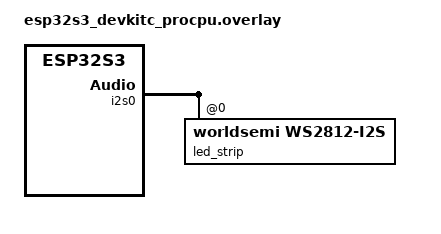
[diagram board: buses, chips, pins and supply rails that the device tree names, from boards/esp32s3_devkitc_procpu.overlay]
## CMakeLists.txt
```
# SPDX-License-Identifier: Apache-2.0

rust_cargo_application(CRATE_NAME firmware FEATURES zephyr)

target_sources(app PRIVATE
  src/boot.c
  src/console/prompt.c
  src/console/fs_aliases.c
  src/services/http/provisioning.c
  src/services/sdcard.c
  src/services/http/filesystem.c
  src/services/mqtt.c
  src/services/mcumgr.c
  src/services/prometheus.c
  src/services/diagnostics.c
  src/services/http/api.c
  src/sensors/devices.c
  src/sensors/soil_moisture.c
  src/sensors/soil_moisture_three_in_one.c
)

target_include_directories(app PRIVATE include)

zephyr_linker_sources(SECTIONS
  linker/discard_defmt.ld
  linker/http-resources.ld
)

zephyr_linker_section(NAME http_resource_desc_provisioning_service
                      KVMA RAM_REGION GROUP RODATA_REGION)
```

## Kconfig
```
source "$(ZEPHYR_BASE)/Kconfig"
rsource "Kconfig.microvisor"
```

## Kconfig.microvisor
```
config MQTT_DEFAULT_HOST
	string "Default MQTT broker host"
	default ""

config MQTT_DEFAULT_USERNAME
	string "Default MQTT username"
	default ""

config MQTT_DEFAULT_PASSWORD
	string "Default MQTT password"
	default ""

menu "Microvisor Test Suites"
	depends on ZTEST

config TEST_LED
	bool "LED strip tests"
	default y

config TEST_PROMPT
	bool "Console prompt tests"
	default y

endmenu
```

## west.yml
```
manifest:
    self:
        path: firmware

    remotes:
        - name: zephyrproject
          url-base: https://github.com/zephyrproject-rtos
        - name: wolfssl
          url-base: https://github.com/wolfSSL

    projects:
        - name: zephyr-lang-rust
          remote: zephyrproject
          revision: 5c486f17eef5d4b1fed5076cd2be167c5f2cd706 # base for firmware/patches/zephyr-lang-rust-*.patch
          path: firmware/modules/lang/rust

        - name: wolfssl
          remote: wolfssl
          revision: v5.9.1-stable
          path: firmware/modules/crypto/wolfssl

        - name: wolfssh
          remote: wolfssl
          revision: v1.5.0-stable
          path: firmware/modules/lib/wolfssh

        - name: zephyr
          remote: zephyrproject
          revision: f1ff557f96f74a6d82d8b290bc4488ee5f93c483 # main~2: before HAL CS timing regression
          import:
              path-prefix: firmware
              name-allowlist:
                  # ESP32
                  - hal_espressif
                  - hal_xtensa

                  # STM32
                  - hal_stm32
                  - hal_st

                  # Core
                  - cmsis
                  - cmsis_6
                  - mbedtls
                  - mbedtls-3.6
                  - mcuboot
                  - tf-psa-crypto

                  # Filesystems
                  - fatfs
                  - littlefs

                  # Libraries
                  - libmetal
                  - segger
                  - mipi-sys-t
                  - picolibc
                  - zcbor

                  # Debug
                  - percepio
                  - net-tools
```

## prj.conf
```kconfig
CONFIG_LOG=y
CONFIG_PRINTK=y
CONFIG_LOG_BACKEND_SHOW_COLOR=y
CONFIG_LOG_INFO_COLOR_GREEN=y
CONFIG_LOG_DBG_COLOR_BLUE=y
CONFIG_LOG_BACKEND_SHOW_LEVEL=n
CONFIG_LOG_RUNTIME_FILTERING=y
# CONFIG_NET_LOG=y
# CONFIG_NET_HTTP_SERVER_LOG_LEVEL_DBG=y
CONFIG_LED_STRIP=y
CONFIG_LED_STRIP_SHELL=y

CONFIG_ESPTOOLPY_FLASHSIZE_8MB=y

CONFIG_ESP_SPIRAM=y
CONFIG_SPIRAM_MODE_OCT=y
CONFIG_ESP32S3_DATA_CACHE_64KB=y
# CONFIG_ESP_WIFI_HEAP_SPIRAM=y  # breaks boot — hangs before Zephyr banner

CONFIG_FLASH=y
CONFIG_FLASH_PAGE_LAYOUT=y

# Must match embassy-time's tick-hz-* feature (default: tick-hz-1_000_000).
# zephyr-lang-rust's time driver reports k_uptime_ticks() directly, so a
# mismatch dilates every Timer::after by 1000x at the ESP32 default 1kHz.
CONFIG_SYS_CLOCK_TICKS_PER_SEC=1000000

# Drivers
CONFIG_I2C=y
CONFIG_ADC=y
CONFIG_SENSOR=y
# Upstream defaults both root and channel prio to I2C_INIT_PRIORITY (50),
# but the driver asserts CHANNEL > ROOT.
CONFIG_I2C_TCA954X_CHANNEL_INIT_PRIO=51
CONFIG_PM_DEVICE=y
CONFIG_POWEROFF=y
CONFIG_REBOOT=y
CONFIG_REGULATOR=y
CONFIG_REGULATOR_FIXED=y
CONFIG_PWM=y
CONFIG_PWM_SHELL=y

# File systems
CONFIG_FILE_SYSTEM=y

# Shell
CONFIG_SHELL=y
CONFIG_SHELL_PROMPT_BUFF_SIZE=2048
CONFIG_SHELL_DEFAULT_TERMINAL_WIDTH=200
CONFIG_SHELL_CMDS_RESIZE=y
CONFIG_SHELL_CMDS_SELECT=y
CONFIG_SHELL_BACKEND_TELNET=y
# CONFIG_SHELL_BACKEND_WEBSOCKET=y

# Networking
CONFIG_NETWORKING=y
CONFIG_NET_IPV4=y
CONFIG_NET_IPV6=y
CONFIG_NET_TCP=y
CONFIG_NET_UDP=y
CONFIG_NET_DHCPV4=y
CONFIG_NET_SHELL=y
CONFIG_NET_HOSTNAME_ENABLE=y
CONFIG_NET_HOSTNAME_DYNAMIC=y
CONFIG_NET_HOSTNAME_UNIQUE=y
CONFIG_NET_HOSTNAME="ceratina-"
CONFIG_NET_CONNECTION_MANAGER=y
# CONFIG_NET_CONNECTION_MANAGER_CONNECTIVITY_WIFI_MGMT=y
CONFIG_NET_STATISTICS=y
CONFIG_NET_CAPTURE=y
CONFIG_NET_SOCKETS=y
CONFIG_NET_SOCKETS_SERVICE_STACK_SIZE=4096
CONFIG_NET_MAX_CONN=32
CONFIG_NET_CONTEXT_NET_PKT_POOL=y

# DNS + mDNS
CONFIG_DNS_RESOLVER=y
CONFIG_MDNS_RESOLVER=y
CONFIG_MDNS_RESPONDER=y
CONFIG_DNS_SD=y
CONFIG_MDNS_RESPONDER_DNS_SD=y

# SNTP
CONFIG_SNTP=y
CONFIG_NET_CONFIG_CLOCK_SNTP_INIT=y

# HTTP
CONFIG_ZVFS_EVENTFD_MAX=4
CONFIG_HTTP_SERVER=y
CONFIG_HTTP_SERVER_WEBSOCKET=y
CONFIG_HTTP_SERVER_RESOURCE_WILDCARD=y
CONFIG_HTTP_SERVER_COMPRESSION=y
CONFIG_HTTP_CLIENT=y

CONFIG_PROMETHEUS=y
# CONFIG_NET_STATISTICS_VIA_PROMETHEUS=y  # redefinition errors with dual WiFi (STA+AP)
CONFIG_HTTP_SERVER_STACK_SIZE=8192
CONFIG_HTTP_SERVER_CLIENT_BUFFER_SIZE=1024
CONFIG_HTTP_SERVER_CLIENT_INACTIVITY_TIMEOUT=120

# WebSocket
CONFIG_WEBSOCKET_CLIENT=y

CONFIG_MQTT_LIB=y
CONFIG_MQTT_KEEPALIVE=60

# TLS for MQTT — disabled while playing on LAN, revisit when going public
# CONFIG_NET_SOCKETS_SOCKOPT_TLS=y
# CONFIG_TLS_CREDENTIALS=y
# CONFIG_MBEDTLS=y
# CONFIG_MBEDTLS_BUILTIN=y
# CONFIG_MBEDTLS_ENABLE_HEAP=y
# CONFIG_MBEDTLS_HEAP_SIZE=60000
# CONFIG_MBEDTLS_TLS_VERSION_1_2=y
# CONFIG_MBEDTLS_KEY_EXCHANGE_RSA_ENABLED=y
# CONFIG_MBEDTLS_KEY_EXCHANGE_ECDHE_RSA_ENABLED=y
# CONFIG_MBEDTLS_ECP_C=y
# CONFIG_MBEDTLS_SHA256=y
# CONFIG_MBEDTLS_AES_C=y
# CONFIG_MBEDTLS_RSA_C=y
# CONFIG_MBEDTLS_CIPHER_GCM_ENABLED=y
# CONFIG_MBEDTLS_USER_CONFIG_ENABLE=y

# DHCP server
CONFIG_NET_DHCPV4_SERVER=y
CONFIG_NET_DHCPV4_SERVER_INSTANCES=1
CONFIG_NET_DHCPV4_SERVER_ADDR_COUNT=4

# WiFi
CONFIG_WIFI=y
CONFIG_WIFI_NM=y
CONFIG_WIFI_CREDENTIALS=y
CONFIG_WIFI_USAGE_MODE_STA_AP=y
CONFIG_ESP32_WIFI_STA_AUTO_DHCPV4=y
# CONFIG_ESP32_WIFI_NET_ALLOC_SPIRAM=y
CONFIG_ESP32_WIFI_STA_RECONNECT=y
CONFIG_NET_L2_WIFI_SHELL=y
CONFIG_NET_L2_WIFI_MGMT=y
CONFIG_NET_IF_MAX_IPV4_COUNT=2
CONFIG_NET_IF_MAX_IPV6_COUNT=2
CONFIG_NET_MGMT_EVENT_INFO=y
CONFIG_NET_MGMT_EVENT_STACK_SIZE=4096

# UUID for CloudEvents id generation (RFC 9562)
CONFIG_UUID=y
CONFIG_UUID_V5=y

# Shell subsystems
CONFIG_LOG_CMDS=y
CONFIG_KERNEL_SHELL=y
CONFIG_DEVICE_SHELL=y
CONFIG_SENSOR_SHELL=y
CONFIG_I2C_SHELL=y
CONFIG_GPIO_SHELL=y
CONFIG_FLASH_SHELL=y
CONFIG_THREAD_ANALYZER=y
CONFIG_THREAD_NAME=y
CONFIG_DATE_SHELL=y
CONFIG_HWINFO=y
CONFIG_HWINFO_SHELL=y
CONFIG_STATS=y
CONFIG_STATS_SHELL=y
CONFIG_STATS_NAMES=y
CONFIG_FILE_SYSTEM_SHELL=y
CONFIG_SETTINGS=y
CONFIG_SETTINGS_SHELL=y
CONFIG_FLASH_MAP=y
CONFIG_NVS=y
CONFIG_SETTINGS_NVS=y
CONFIG_PM_DEVICE_SHELL=y
CONFIG_DEVMEM_SHELL=y

# SD card
CONFIG_SPI=y
CONFIG_SDHC=y
CONFIG_SDMMC_STACK=y
CONFIG_DISK_ACCESS=y
CONFIG_DISK_DRIVER_SDMMC=y
CONFIG_FAT_FILESYSTEM_ELM=y
CONFIG_FS_FATFS_LFN=y

# Console over built-in USB-Serial/JTAG
CONFIG_SERIAL=y
CONFIG_CONSOLE=y
CONFIG_UART_CONSOLE=y

# Modbus
CONFIG_MODBUS=y
CONFIG_MODBUS_SERIAL=y
CONFIG_MODBUS_ROLE_CLIENT=y
# Modbus subsystem forces 2 stop bits when parity is NONE if runtime UART
# configure is on; DFRobot soil sensors are 8N1, so keep DT framing intact.
CONFIG_UART_USE_RUNTIME_CONFIGURE=n
# CONFIG_UART_INTERRUPT_DRIVEN=y  # breaks USB-Serial/JTAG console

# Rust
CONFIG_JSON_LIBRARY=y
CONFIG_SYS_HEAP_RUNTIME_STATS=y

CONFIG_RUST=y
CONFIG_RUST_ALLOC=y

# MCUmgr — fs/os/stat/enum/shell over SMP/UDP
CONFIG_MCUMGR=y
CONFIG_ZCBOR=y
CONFIG_CRC=y
CONFIG_MCUMGR_TRANSPORT_UDP=y
CONFIG_MCUMGR_TRANSPORT_UDP_IPV4=y
CONFIG_MCUMGR_TRANSPORT_UDP_IPV6=y
CONFIG_MCUMGR_TRANSPORT_UDP_PORT=1337
CONFIG_MCUMGR_TRANSPORT_UDP_STACK_SIZE=2048
CONFIG_MCUMGR_SMP_VERBOSE_ERR_RESPONSE=y
CONFIG_MCUMGR_MGMT_NOTIFICATION_HOOKS=y
CONFIG_MCUMGR_GRP_FS=y
CONFIG_MCUMGR_GRP_FS_FILE_STATUS=y
CONFIG_MCUMGR_GRP_FS_CHECKSUM_HASH=y
CONFIG_MCUMGR_GRP_FS_CHECKSUM_IEEE_CRC32=y
CONFIG_MCUMGR_GRP_FS_CHECKSUM_HASH_SUPPORTED_CMD=y
CONFIG_MCUMGR_GRP_FS_PATH_LEN=256
CONFIG_MCUMGR_GRP_FS_FILE_ACCESS_HOOK=y
CONFIG_MCUMGR_GRP_OS=y
CONFIG_MCUMGR_GRP_OS_INFO=y
CONFIG_MCUMGR_GRP_OS_MCUMGR_PARAMS=y
CONFIG_MCUMGR_GRP_OS_TASKSTAT=y
CONFIG_MCUMGR_GRP_OS_TASKSTAT_STACK_INFO=y
CONFIG_MCUMGR_GRP_OS_MPSTAT=y
CONFIG_MCUMGR_GRP_STAT=y
CONFIG_MCUMGR_GRP_ENUM=y
CONFIG_MCUMGR_GRP_ENUM_DETAILS=y
CONFIG_MCUMGR_GRP_SHELL=y
CONFIG_SHELL_BACKEND_DUMMY=y
CONFIG_THREAD_MONITOR=y
CONFIG_THREAD_STACK_INFO=y
CONFIG_SYS_HEAP_ARRAY_SIZE=4
# DTLS, SHA256, settings_mgmt deliberately off:
# DTLS/SHA256 pull mbedTLS and conflict with wolfSSL; settings_mgmt would expose MQTT creds.

# OTA disabled — bad flash caused boot loop, revisit later
# CONFIG_BOOTLOADER_MCUBOOT=y
# CONFIG_MCUMGR_GRP_IMG=y
# CONFIG_IMG_MANAGER=y
# CONFIG_STREAM_FLASH=y

# System
CONFIG_ZVFS_POLL_MAX=32

# Stack sizes
CONFIG_MAIN_STACK_SIZE=8192
CONFIG_SYSTEM_WORKQUEUE_STACK_SIZE=4096
CONFIG_ISR_STACK_SIZE=4096
CONFIG_SHELL_STACK_SIZE=5200
CONFIG_STACK_SENTINEL=y
CONFIG_NET_TX_STACK_SIZE=2048
CONFIG_NET_RX_STACK_SIZE=2048
CONFIG_NET_PKT_RX_COUNT=10
CONFIG_NET_PKT_TX_COUNT=10
CONFIG_NET_BUF_RX_COUNT=128
CONFIG_NET_BUF_TX_COUNT=128
CONFIG_NET_MAX_CONTEXTS=32
CONFIG_NET_MGMT_EVENT_QUEUE_SIZE=16
CONFIG_NET_MGMT_EVENT_INFO_DEFAULT_DATA_SIZE=128
```

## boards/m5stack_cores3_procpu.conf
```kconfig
CONFIG_WIFI=n
CONFIG_WIFI_NM=n
CONFIG_NET_L2_WIFI_SHELL=n
CONFIG_ESP32_WIFI_STA_AUTO_DHCPV4=n
CONFIG_NET_DHCPV4_SERVER=n

# WiFi management + credentials API stay on even though the radio driver is off:
# the Rust bindgen wrapper (firmware/patches/zephyr-lang-rust-ffi-wrappers.patch)
# hardcodes net_mgmt(NET_REQUEST_WIFI_*) and wifi_credentials_*() calls without
# Kconfig guards. Disabling these breaks the bindgen step before any link.
CONFIG_NET_L2_WIFI_MGMT=y
CONFIG_WIFI_CREDENTIALS=y
CONFIG_WIFI_CREDENTIALS_SHELL=n
CONFIG_NET_IF_MAX_IPV4_COUNT=1
CONFIG_NET_IF_MAX_IPV6_COUNT=1

CONFIG_NET_NATIVE=y
CONFIG_NET_L2_PPP=y
CONFIG_NET_L2_PPP_MGMT=y
CONFIG_NET_CONTEXT_RCVTIMEO=y

CONFIG_MODEM=y
CONFIG_MODEM_CELLULAR=y
CONFIG_MODEM_CELLULAR_APN=""
CONFIG_MODEM_CMUX_MTU=160
CONFIG_MODEM_CELLULAR_CHAT_BUFFER_SIZE=256

CONFIG_PM_DEVICE_RUNTIME=y

CONFIG_MODEM_LOG_LEVEL_DBG=y
CONFIG_NET_LOG=y
CONFIG_NET_L2_PPP_LOG_LEVEL_DBG=y
CONFIG_LOG_BUFFER_SIZE=4096
```

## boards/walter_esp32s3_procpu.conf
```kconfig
CONFIG_ESPTOOLPY_FLASHSIZE_8MB=n
CONFIG_ESPTOOLPY_FLASHSIZE_16MB=y

CONFIG_ESP_SPIRAM=n

CONFIG_LED_STRIP=n
CONFIG_LED_STRIP_SHELL=n

CONFIG_ESP32_WIFI_AP_STA_MODE=y

CONFIG_DISK_ACCESS=n
CONFIG_DISK_DRIVER_SDMMC=n
CONFIG_FAT_FILESYSTEM_ELM=n
CONFIG_SPIRAM_MODE_OCT=n


CONFIG_NET_NATIVE=y
CONFIG_NET_L2_PPP=y
CONFIG_NET_CONTEXT_RCVTIMEO=y

CONFIG_MODEM=y
CONFIG_MODEM_CELLULAR=y
CONFIG_MODEM_CELLULAR_APN="m2minternet.apn"
CONFIG_MODEM_CMUX_MTU=160
CONFIG_MODEM_CELLULAR_CHAT_BUFFER_SIZE=256

CONFIG_PM_DEVICE_RUNTIME=y

CONFIG_NET_L2_PPP_MGMT=y

CONFIG_MODEM_LOG_LEVEL_DBG=y
CONFIG_NET_LOG=y
CONFIG_NET_L2_PPP_LOG_LEVEL_DBG=y
CONFIG_LOG_BUFFER_SIZE=4096
```

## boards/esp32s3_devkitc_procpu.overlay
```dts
#include <zephyr/dt-bindings/led/led.h>

/ {
	aliases {
		led-strip = &led_strip;
	};
};

&psram0 {
	size = <DT_SIZE_M(8)>;
};

&i2s0_default {
	group1 {
		pinmux = <I2S0_O_SD_GPIO38>;
	};
};

i2s_led: &i2s0 {
	status = "okay";

	dmas = <&dma 3>;
	dma-names = "tx";

	led_strip: ws2812@0 {
		compatible = "worldsemi,ws2812-i2s";

		reg = <0>;
		chain-length = <1>;
		color-mapping = <LED_COLOR_ID_GREEN
				 LED_COLOR_ID_RED
				 LED_COLOR_ID_BLUE>;
		reset-delay = <500>;
	};
};

&dma {
	status = "okay";
};
```

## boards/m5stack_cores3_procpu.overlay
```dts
/* M5Stack 4G LTE Module on M-Bus.
 * Module silkscreen says "COM.LTE" but the chip is SIM7600G-H (Cat-4).
 * simcom,a76xx compat works for data-only PPP because A76xx and SIM7600
 * share the SIMCom AT command set modem_cellular drives. Only GNSS
 * init differs (AT+CGNSSPWR=1 vs AT+CGPS=1) — irrelevant here.
 */

&wifi {
	status = "disabled";
};

&uart1 {
	modem: modem {
		compatible = "simcom,a76xx";
		mdm-power-gpios = <&gpio0 5 GPIO_ACTIVE_HIGH>;
		status = "okay";
	};
};

/ {
	aliases {
		modem = &modem;
		modem-uart = &uart1;
	};
};
```

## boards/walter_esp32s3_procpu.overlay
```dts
/* https://docs.zephyrproject.org/latest/boards/dptechnics/walter/doc/index.html */
/ {
	aliases {
		temp0 = &coretemp;
	};

	wifi_ap: wifi_ap {
		compatible = "espressif,esp32-wifi";
		status = "okay";
	};
};

&coretemp {
	status = "okay";
};
```

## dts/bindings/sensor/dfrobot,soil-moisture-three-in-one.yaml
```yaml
description: |
  DFRobot SEN0601 soil moisture + temperature + EC + salinity + TDS sensor
  (Modbus RTU, 5 holding registers).

compatible: "dfrobot,soil-moisture-three-in-one"

include: [sensor-device.yaml]

properties:
  slave-id:
    type: int
    required: true
    description: Modbus slave address of this probe.
```

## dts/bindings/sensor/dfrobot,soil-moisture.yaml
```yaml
description: |
  DFRobot SEN0600 soil moisture + temperature sensor (Modbus RTU, 2 holding registers).

compatible: "dfrobot,soil-moisture"

include: [sensor-device.yaml]

properties:
  slave-id:
    type: int
    required: true
    description: Modbus slave address of this probe.
```

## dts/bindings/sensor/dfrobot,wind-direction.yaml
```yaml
description: DFRobot wind direction sensor (Modbus RTU)

compatible: "dfrobot,wind-direction"

include: [sensor-device.yaml]

properties:
  slave-id:
    type: int
    required: true
    description: Modbus slave address of the wind direction sensor
```

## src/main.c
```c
#include <zephyr/net/net_if.h>

#if defined(CONFIG_NET_L2_PPP)
#include <zephyr/net/ppp.h>
struct net_if *get_ppp_iface(void) {
	return net_if_get_first_by_type(&NET_L2_GET_NAME(PPP));
}
#else
struct net_if *get_ppp_iface(void) {
	return NULL;
}
#endif

extern void rust_main(void);

int main(void)
{
	rust_main();
	return 0;
}
```

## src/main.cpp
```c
#include "boot/system.h"
#include "config.h"
#include "networking/wifi.h"
#include <Arduino.h>

#ifndef PIO_UNIT_TESTING

void setup(void) {
  Serial.begin(config::system::SERIAL_BAUD);
  delay(100);

  networking::wifi::sta::initialize();
  boot::system::startTask();
}

void loop(void) {}

#endif
```

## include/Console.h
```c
/*
 * Console Arduino Library — wrapper for the ESP-IDF console component
 *
 * Provides an Arduino-style API for interactive command-line consoles with
 * full REPL support, tab completion, command history, argtable3 argument
 * parsing, and context-aware commands.
 *
 * SPDX-FileCopyrightText: 2026 Espressif Systems (Shanghai) CO LTD
 * SPDX-License-Identifier: LGPL-2.1-or-later
 */

#pragma once

#include "Arduino.h"
#include "FS.h"
#include "freertos/FreeRTOS.h"
#include "freertos/task.h"

/**
 * @brief Callback type for a console command.
 *
 * @param argc  Number of arguments (including the command name at argv[0]).
 * @param argv  Array of null-terminated argument strings.
 * @return      0 on success, non-zero on error.
 */
typedef int (*ConsoleCommandFunc)(int argc, char **argv);

/**
 * @brief Callback type for a context-aware console command.
 *
 * @param context  User-supplied context pointer passed at registration.
 * @param argc     Number of arguments.
 * @param argv     Array of null-terminated argument strings.
 * @return         0 on success, non-zero on error.
 */
typedef int (*ConsoleCommandFuncWithCtx)(void *context, int argc, char **argv);

class ConsoleClass {
public:
  ConsoleClass();

  // ---------------------------------------------------------------------------
  // Lifecycle
  // ---------------------------------------------------------------------------

  /**
   * @brief Initialize the console.
   *
   * Must be called before any other method. Sets up the esp_console module and
   * configures linenoise tab-completion and hints.
   *
   * @param maxCmdLen  Maximum length of a single command line (bytes). Default 256.
   * @param maxArgs    Maximum number of whitespace-separated tokens per line. Default 32.
   * @return           true on success.
   */
  bool begin(size_t maxCmdLen = 256, size_t maxArgs = 32);

  /**
   * @brief De-initialize the console.
   *
   * Stops the REPL task if running, saves history, and releases esp_console resources.
   */
  void end();

  // ---------------------------------------------------------------------------
  // Configuration — call before begin()
  // ---------------------------------------------------------------------------

  /** @brief Set the REPL prompt string. Default: "esp> ". */
  void setPrompt(const char *prompt);
  void setPrompt(const String &prompt) {
    setPrompt(prompt.c_str());
  }

  /** @brief Set the maximum number of history entries kept in RAM. Default: 32. */
  void setMaxHistory(uint32_t maxLen);

  /**
   * @brief Set a filesystem and path for persistent command history.
   *
   * When set, history is loaded at begin() and saved after every command.
   * The filesystem must be mounted before calling begin().
   *
   * @param fs    Arduino filesystem object. Also accepts SPIFFS, FFat, etc.
   * @param path  File path relative to the filesystem root (e.g. "/history.txt").
   */
  void setHistoryFile(fs::FS &fs, const char *path);
  void setHistoryFile(fs::FS &fs, const String &path) {
    setHistoryFile(fs, path.c_str());
  }

  /** @brief Set the REPL background task stack size in bytes. Default: 4096. */
  void setTaskStackSize(uint32_t size);

  /** @brief Set the REPL background task priority. Default: 2. */
  void setTaskPriority(uint32_t priority);

  /** @brief Pin the REPL task to a specific core. Default: tskNO_AFFINITY. */
  void setTaskCore(BaseType_t core);

  /**
   * @brief Route all Console PSRAM-eligible allocations to external SPI RAM.
   *
   * When enabled:
   * - The esp_console command registry (@c heap_alloc_caps in
   *   @c esp_console_config_t) is allocated from PSRAM.
   * - The REPL FreeRTOS task stack is allocated from PSRAM via
   *   @c xTaskCreatePinnedToCoreWithCaps.
   *
   * This frees internal SRAM for other uses at the cost of slightly higher
   * latency for stack and heap accesses. If PSRAM is not available at
   * runtime, the library automatically falls back to internal RAM.
   *
   * Must be called before begin() to affect the heap allocation, and before
   * attachToSerial(true) to affect the task stack.
   *
   * @param enable  true to use PSRAM, false for internal RAM (default: true).
   */
  void usePsram(bool enable);

  // ---------------------------------------------------------------------------
  // Command registration
  // ---------------------------------------------------------------------------

  /**
   * @brief Register a command with a simple callback.
   *
   * @param name  Command name (no spaces). Must remain valid until end().
   * @param help  Help text shown by the built-in "help" command.
   * @param func  Command handler.
   * @return      true on success.
   */
  bool addCmd(const char *name, const char *help, ConsoleCommandFunc func);
  bool addCmd(const String &name, const String &help, ConsoleCommandFunc func) {
    return addCmd(name.c_str(), help.c_str(), func);
  }

  /**
   * @brief Register a command with an explicit hint string.
   *
   * @param hint  Short argument hint shown inline during typing (e.g. "<pin> <value>").
   */
  bool addCmd(const char *name, const char *help, const char *hint, ConsoleCommandFunc func);
  bool addCmd(const String &name, const String &help, const String &hint, ConsoleCommandFunc func) {
    return addCmd(name.c_str(), help.c_str(), hint.c_str(), func);
  }

  /**
   * @brief Register a command with an argtable3 argument table.
   *
   * The argtable is used to auto-generate the hint string.  Declare the table
   * as a struct ending with arg_end() and pass a pointer to it.
   *
   * @param argtable  Pointer to an argtable3 argument table (ends with arg_end).
   */
  bool addCmd(const char *name, const char *help, void *argtable, ConsoleCommandFunc func);

  /**
   * @brief Register a context-aware command.
   *
   * @param ctx  Pointer passed verbatim as the first argument to func.
   */
  bool addCmdWithContext(const char *name, const char *help, ConsoleCommandFuncWithCtx func, void *ctx);
  bool addCmdWithContext(const String &name, const String &help, ConsoleCommandFuncWithCtx func, void *ctx) {
    return addCmdWithContext(name.c_str(), help.c_str(), func, ctx);
  }

  bool addCmdWithContext(const char *name, const char *help, const char *hint, ConsoleCommandFuncWithCtx func, void *ctx);
  bool addCmdWithContext(const String &name, const String &help, const String &hint, ConsoleCommandFuncWithCtx func, void *ctx) {
    return addCmdWithContext(name.c_str(), help.c_str(), hint.c_str(), func, ctx);
  }

  bool addCmdWithContext(const char *name, const char *help, void *argtable, ConsoleCommandFuncWithCtx func, void *ctx);

  /**
   * @brief Unregister a previously registered command.
   *
   * @param name  Command name to remove.
   * @return      true on success.
   */
  bool removeCmd(const char *name);
  bool removeCmd(const String &name) {
    return removeCmd(name.c_str());
  }

  // ---------------------------------------------------------------------------
  // Built-in help command
  // ---------------------------------------------------------------------------

  /**
   * @brief Register the built-in "help" command.
   *
   * When called with no arguments, prints all registered commands with their
   * hints and help text. When called with a command name, prints help for
   * that command only.
   *
   * @return true on success.
   */
  bool addHelpCmd();

  /** @brief Remove the built-in "help" command. */
  bool removeHelpCmd();

  /**
   * @brief Control how much detail the "help" command prints.
   *
   * @param level  0 = brief (name + hint only), 1 = verbose (includes help text).
   * @return       true on success.
   */
  bool setHelpVerboseLevel(int level);

  // ---------------------------------------------------------------------------
  // REPL — background FreeRTOS task
  // ---------------------------------------------------------------------------

  /**
   * @brief Attach the console to the serial port and start the REPL.
   *
   * When enabled this will start the Read-Eval-Print Loop in a background FreeRTOS task
   * and read input through @c Serial and write output to @c stdout.
   *
   * When disabled the REPL will stop and the background task will be stopped.
   * The serial port will be available for other use.
   *
   * Works with UART and HWCDC automatically: the REPL reads input through
   * @c Serial and writes output to @c stdout. No transport-specific
   * configuration is required.
   *
   * @note USB OTG (CDC via TinyUSB / USBSerial) is not currently supported.
   *
   * At startup the task probes the terminal for VT100 support (by sending a
   * one-time Device Status Request). If the terminal does not respond, plain
   * mode is enabled automatically. Use setPlainMode() to override the probe.
   *
   * Requires begin() to have been called first.
   *
   * @param enable  true to attach, false to detach.
   *
   * @return true on success.
   */
  bool attachToSerial(bool enable);

  /**
   * @brief Check if the console is attached to the serial port.
   *
   * @return true if the console is attached to the serial port.
   */
  bool isAttachedToSerial();

  // ---------------------------------------------------------------------------
  // Manual command execution (no REPL task)
  // ---------------------------------------------------------------------------

  /**
   * @brief Execute a command line string directly.
   *
   * Useful when building a custom input loop instead of using attachToSerial(true),
   * or for invoking commands from within other command handlers.
   *
   * @note When calling run() from inside a command handler, the caller's
   *       @c argv pointers are invalidated because the underlying IDF
   *       function shares a single parse buffer. Copy any @c argv values
   *       you need into local variables @b before calling run().
   *
   * @param cmdline  Full command line (command name + arguments).
   * @return         The command's return code, or -1 on error.
   */
  int run(const char *cmdline);
  int run(const String &cmdline) {
    return run(cmdline.c_str());
  }

  // ---------------------------------------------------------------------------
  // linenoise utilities
  // ---------------------------------------------------------------------------

  /** @brief Clear the terminal screen. */
  void clearScreen();

  /**
   * @brief Enable or disable multi-line editing mode.
   *
   * In multi-line mode the prompt and input wrap across terminal rows.
   * Disabled by default.
   */
  void setMultiLine(bool enable);

  /**
   * @brief Enable or disable plain (non-VT100) input mode.
   *
   * In plain mode linenoise falls back to basic line input without cursor
   * movement, arrow-key history, or tab completion rendering. Useful for
   * terminals that do not support ANSI/VT100 escape sequences.
   *
   * By default, attachToSerial(true) probes the terminal at startup (sending a
   * one-time Device Status Request) and enables plain mode automatically if the
   * terminal does not respond.
   *
   * @param enable  true to enable plain mode, false to restore VT100 mode.
   * @param force   When true (default), the automatic VT100 probe at
   *                attachToSerial(true) startup is skipped and the mode set
   *                here is kept unconditionally. When false, the mode is set
   *                immediately but attachToSerial(true) may still override it
   *                based on the probe result.
   */
  void setPlainMode(bool enable, bool force = true);

  /**
   * @brief Check whether plain (non-VT100) input mode is currently active.
   *
   * @return true if plain mode is enabled.
   */
  bool isPlainMode();

  // ---------------------------------------------------------------------------
  // Argument splitting utility
  // ---------------------------------------------------------------------------

  /**
   * @brief Split a command line string into argv-style tokens in place.
   *
   * Handles quoted strings and backslash escapes. Modifies the input buffer.
   *
   * @param line       Null-terminated input string (modified in place).
   * @param argv       Output array of pointers to tokens.
   * @param argv_size  Size of the argv array (max tokens + 1 for NULL sentinel).
   * @return           Number of tokens found (argc).
   */
  static size_t splitArgv(char *line, char **argv, size_t argv_size);

private:
  /**
   * @brief Start the REPL in a background FreeRTOS task.
   *
   * Works with UART and HWCDC automatically: the REPL reads input through
   * @c Serial and writes output to @c stdout. No transport-specific
   * configuration is required.
   *
   * @note USB OTG (CDC via TinyUSB / USBSerial) is not currently supported.
   *
   * At startup the task probes the terminal for VT100 support (by sending a
   * one-time Device Status Request). If the terminal does not respond, plain
   * mode is enabled automatically. Use setPlainMode() to override the probe.
   *
   * Requires begin() to have been called first.
   *
   * @return true on success.
   */
  bool startRepl();

  /**
   * @brief Stop the REPL task.
   *
   * @return true on success.
   */
  bool stopRepl();
  static void _replTask(void *arg);

  static constexpr size_t MAX_CMDS = 64;
  struct CmdEntry {
    const char *name;
    const char *hint;
    const char *help;
  };

  void _trackCmd(const char *name, const char *help, const char *hint);
  static int _helpHandler(int argc, char **argv);

  bool _initialized;
  bool _replStarted;
  TaskHandle_t _replTaskHandle;
  const char *_prompt;
  uint32_t _maxHistory;
  char *_historyVfsPath;
  uint32_t _taskStackSize;
  uint32_t _taskPriority;
  BaseType_t _taskCore;
  bool _usePsram;
  bool _taskStackInPsram;
  bool _forceMode;

  CmdEntry _cmds[MAX_CMDS];
  size_t _cmdCount;
};

extern ConsoleClass Console;
```

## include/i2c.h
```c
#pragma once

#include <TCA9548.h>
#include <stddef.h>
#include <stdint.h>
#include <Wire.h>

namespace hardware::i2c {

enum class Bus : uint8_t {
  Bus0 = 0,
  Bus1 = 1,
};

struct BusDescriptor {
  Bus bus;
  TwoWire *wire;
  bool ready;
};

struct TopologySnapshot {
  bool legacy_power_enabled;
  bool mux_present;
  uint8_t mux_address;
  bool mux_odd_power_enabled;
  bool mux_even_power_enabled;
};

struct DeviceAccessCommand {
  Bus bus;
  int8_t mux_channel;
  TwoWire *wire;
  bool ok;
};

struct ScanCommand {
  char *buffer;
  size_t capacity;
  int length;
};

struct DiscoveredDevice {
  uint8_t bus;
  uint8_t address;
  int8_t mux_channel;
};

constexpr size_t MAX_DISCOVERED_DEVICES = 32;

const char *deviceNameAt(uint8_t address, int8_t mux_channel = -1);

extern TCA9548 mux;

void enable();
void disable();
bool isEnabled();

bool initialize();
bool accessBus(BusDescriptor *descriptor);
bool accessTopology(TopologySnapshot *snapshot);
bool accessDevice(DeviceAccessCommand *command);
void clearSelection();
bool scan(ScanCommand *command);
size_t discoverAll(DiscoveredDevice *devices, size_t capacity);
bool runDiscovery();
bool findDevice(uint8_t address, DiscoveredDevice *result);

#ifdef PIO_UNIT_TESTING
void test();
#endif

}
```

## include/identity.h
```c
#pragma once

#include <config.h>
#include <stddef.h>

struct DeviceIdentitySnapshot {
  char hostname[config::shell::HOSTNAME_SIZE + 1];
  char username[64];
  char device_name[64];
  char api_key[64];
  bool provisioned;
};

struct IdentityStringQuery {
  char *buffer;
  size_t capacity;
  bool ok;
};

namespace services::identity {

void initialize();
const char *access_hostname();
bool configure_hostname(const char *hostname);

bool access_username(IdentityStringQuery *query);
bool configure_username(const char *value);

bool access_device_name(IdentityStringQuery *query);
bool configureDeviceName(const char *value);

bool accessAPIKey(IdentityStringQuery *query);
bool configureAPIKey(const char *value);

bool accessSnapshot(DeviceIdentitySnapshot *snapshot);

#ifdef PIO_UNIT_TESTING
void test();
#endif

} // namespace services::identity
```

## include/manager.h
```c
#pragma once

#include "sensors/barometric_pressure.h"
#include "sensors/carbon_dioxide.h"
#include "sensors/current.h"
#include "sensors/soil.h"
#include "sensors/solar_radiation.h"
#include "sensors/temperature_and_humidity.h"
#include "sensors/voltage.h"
#include "sensors/wind_direction.h"
#include "sensors/wind_speed.h"

struct SensorInventorySnapshot {
  uint8_t temperature_humidity_count;
  uint8_t soil_probe_count;
  bool voltage_available;
  bool current_available;
  bool carbon_dioxide_available;
  bool wind_speed_available;
  bool wind_direction_available;
  bool solar_radiation_available;
  bool barometric_pressure_available;
};

namespace sensors::manager {

void initialize();
bool accessInventory(SensorInventorySnapshot *snapshot);
bool accessCO2(CO2SensorData *sensor_data);
bool accessVoltage(VoltageSensorData *sensor_data);
bool accessCurrent(CurrentSensorData *sensor_data);
bool accessWindSpeed(WindSpeedSensorData *sensor_data);
bool accessWindDirection(WindDirectionSensorData *sensor_data);
bool accessSolarRadiation(SolarRadiationSensorData *sensor_data);
bool accessSoil(uint8_t index, SoilSensorData *sensor_data);
bool accessTemperatureHumidity(uint8_t index,
                               TemperatureHumiditySensorData *sensor_data);
bool accessBarometricPressure(BarometricPressureSensorData *sensor_data);

}
```

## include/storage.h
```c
#pragma once

#include <stdint.h>

enum class StorageKind { LittleFS, SD };

struct StorageSnapshot {
  bool mounted;
  StorageKind kind;
  uint64_t total_bytes;
  uint64_t used_bytes;
  uint64_t free_bytes;
};

struct StorageQuery {
  StorageKind kind;
  StorageSnapshot snapshot;
};

namespace hardware::storage {

void initialize();
bool ensureLittleFS();
bool ensureSD();
bool isLittleFSReady();
bool isSDReady();
bool accessSnapshot(StorageQuery *query);

}
```

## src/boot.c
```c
#include <zephyr/kernel.h>
#ifdef CONFIG_WIFI
#include "esp_wifi.h"
#endif
#include <esp_sleep.h>

// #if defined(CONFIG_NET_L2_PPP)
// #include <zephyr/net/ppp.h>
// struct net_if *get_ppp_iface(void) {
// 	return net_if_get_first_by_type(&NET_L2_GET_NAME(PPP));
// }
// #else
// struct net_if *get_ppp_iface(void) {
// 	return NULL;
// }
// #endif

/* Work around Zephyr ESP32 WiFi driver race in esp32_wifi_connect() */
void wifi_pre_start(void)
{
#ifdef CONFIG_WIFI
	esp_wifi_set_mode(ESP32_WIFI_MODE_STA);
	esp_wifi_start();
#endif
}

extern uint32_t mqtt_service_get_sleep_duration(void);

static void deep_sleep_handler(struct k_work *work)
{
	uint32_t duration = mqtt_service_get_sleep_duration();
	esp_sleep_enable_timer_wakeup((uint64_t)duration * 1000000ULL);
	printk("Entering deep sleep for %u seconds\n", duration);
	esp_deep_sleep_start();
}

K_WORK_DELAYABLE_DEFINE(deep_sleep_work, deep_sleep_handler);

void schedule_deep_sleep(void)
{
	k_work_schedule(&deep_sleep_work, K_NO_WAIT);
}
```

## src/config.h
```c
// clang-format off
#ifndef CONFIG_H
#define CONFIG_H

#include "config/features.h"
#include "config/board.h"
#include "config/app.h"

// ─────────────────────────────────────────────────────────────────────────────
//  Compile-time config validation
// ─────────────────────────────────────────────────────────────────────────────

static_assert(config::led::GPIO < 48, "Invalid LED GPIO");
static_assert(config::ssh::PORT > 0, "Invalid SSH port");
static_assert(config::http::PORT > 0, "Invalid HTTP port");
static_assert(config::telnet::PORT > 0, "Invalid telnet port");
static_assert(config::i2c::BUS_0.sda_gpio != config::i2c::BUS_0.scl_gpio,
              "I2C bus 0: SDA and SCL must differ");
static_assert(config::i2c::BUS_1.sda_gpio != config::i2c::BUS_1.scl_gpio,
              "I2C bus 1: SDA and SCL must differ");
static_assert(config::wifi::SSID_MAX_LEN == 32, "IEEE 802.11 SSID max is 32");
static_assert(config::wifi::PASS_MAX_LEN == 64, "IEEE 802.11 pass max is 64");
static_assert(config::shell::BUF_IN >= 64, "Shell input buffer too small");
static_assert(config::shell::BUF_OUT >= 64, "Shell output buffer too small");
static_assert(config::buttons::COUNT <= 8, "Too many buttons");
static_assert(config::sleep::DEFAULT_DURATION_SECONDS > 0,
              "Default sleep duration must be greater than 0");

#endif // CONFIG_H
```
